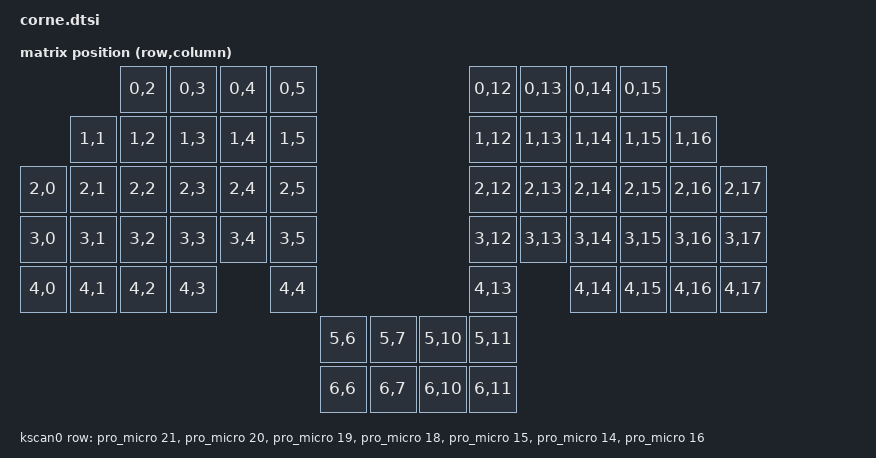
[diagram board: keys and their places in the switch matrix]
#include <dt-bindings/zmk/matrix_transform.h>
#include <physical_layouts.dtsi>

/ {
    default_transform: keymap_transform_0 {
        compatible = "zmk,matrix-transform";
        columns = <18>;  
        rows = <7>;    

        // QMK Layout mapping from kb.h:
        //              | K002 | K003 | K004 | K005 |                                      | K012 | K013 | K014 | K015 |              
        //        | K101 | K102 | K103 | K104 | K105 |                                      | K112 | K113 | K114 | K115 | K116 |      
        //  | K200 | K201 | K202 | K203 | K204 | K205 |                                      | K212 | K213 | K214 | K215 | K216 | K217 |
        //  | K300 | K301 | K302 | K303 | K304 | K305 |                                      | K312 | K313 | K314 | K315 | K316 | K317 |
        //  | K400 | K401 | K402 | K403 |             | K406 |                          | K411 |             | K414 | K415 | K416 | K417 |
        //                                                  | K507 | K508 |      | K510 | K511 |                                     
        //                                                  | K607 | K608 |      | K610 | K611 |

        map = < 
                    RC(0,2) RC(0,3) RC(0,4) RC(0,5)                                             RC(0,12) RC(0,13) RC(0,14) RC(0,15)
            RC(1,1) RC(1,2) RC(1,3) RC(1,4) RC(1,5)                                             RC(1,12) RC(1,13) RC(1,14) RC(1,15) RC(1,16)
            RC(2,0) RC(2,1) RC(2,2) RC(2,3) RC(2,4) RC(2,5)                                     RC(2,12) RC(2,13) RC(2,14) RC(2,15) RC(2,16) RC(2,17)
            RC(3,0) RC(3,1) RC(3,2) RC(3,3) RC(3,4) RC(3,5)                                     RC(3,12) RC(3,13) RC(3,14) RC(3,15) RC(3,16) RC(3,17)
            RC(4,0) RC(4,1) RC(4,2) RC(4,3)                 RC(4,4)                     RC(4,13)                 RC(4,14) RC(4,15) RC(4,16) RC(4,17)
                                                                    RC(5,6) RC(5,7)     RC(5,10) RC(5,11)
                                                                    RC(6,6) RC(6,7)     RC(6,10) RC(6,11)
        >;
    };

    kscan0: kscan {
        compatible = "zmk,kscan-gpio-matrix";
        wakeup-source;
        diode-direction = "col2row";
        // Row pins mapping from QMK: B0, B1, B2, B3, B4, B5, B6 (7 rows)
        row-gpios = 
                    <&pro_micro 21 (GPIO_ACTIVE_HIGH | GPIO_PULL_DOWN)>,
                    <&pro_micro 20 (GPIO_ACTIVE_HIGH | GPIO_PULL_DOWN)>,
                    <&pro_micro 19 (GPIO_ACTIVE_HIGH | GPIO_PULL_DOWN)>,
                    <&pro_micro 18 (GPIO_ACTIVE_HIGH | GPIO_PULL_DOWN)>,
                    <&pro_micro 15 (GPIO_ACTIVE_HIGH | GPIO_PULL_DOWN)>,
                    <&pro_micro 14 (GPIO_ACTIVE_HIGH | GPIO_PULL_DOWN)>,
                    <&pro_micro 16 (GPIO_ACTIVE_HIGH | GPIO_PULL_DOWN)>;
    };

    physical_layouts {
        compatible = "zmk,physical-layouts";

        layout: layout {
            compatible = "zmk,physical-layout";
            display-name = "Default";
            transform = <&default_transform>;
            kscan = <&kscan0>;

            keys = <
                // Row 0: 4 keys left + 4 keys right (indices 0-7)
                //              | K002 | K003 | K004 | K005 |          | K012 | K013 | K014 | K015 |
                &key_physical_attrs 100 100  200    0  0 0 0    // 0: K002
                &key_physical_attrs 100 100  300    0  0 0 0    // 1: K003
                &key_physical_attrs 100 100  400    0  0 0 0    // 2: K004
                &key_physical_attrs 100 100  500    0  0 0 0    // 3: K005
                &key_physical_attrs 100 100  900    0  0 0 0    // 4: K012
                &key_physical_attrs 100 100 1000    0  0 0 0    // 5: K013
                &key_physical_attrs 100 100 1100    0  0 0 0    // 6: K014
                &key_physical_attrs 100 100 1200    0  0 0 0    // 7: K015

                // Row 1: 5 keys left + 5 keys right (indices 8-17)
                //        | K101 | K102 | K103 | K104 | K105 |          | K112 | K113 | K114 | K115 | K116 |
                &key_physical_attrs 100 100  100  100  0 0 0    // 8:  K101
                &key_physical_attrs 100 100  200  100  0 0 0    // 9:  K102
                &key_physical_attrs 100 100  300  100  0 0 0    // 10: K103
                &key_physical_attrs 100 100  400  100  0 0 0    // 11: K104
                &key_physical_attrs 100 100  500  100  0 0 0    // 12: K105
                &key_physical_attrs 100 100  900  100  0 0 0    // 13: K112
                &key_physical_attrs 100 100 1000  100  0 0 0    // 14: K113
                &key_physical_attrs 100 100 1100  100  0 0 0    // 15: K114
                &key_physical_attrs 100 100 1200  100  0 0 0    // 16: K115
                &key_physical_attrs 100 100 1300  100  0 0 0    // 17: K116

                // Row 2: 6 keys left + 6 keys right (indices 18-29)
                //  | K200 | K201 | K202 | K203 | K204 | K205 |          | K212 | K213 | K214 | K215 | K216 | K217 |
                &key_physical_attrs 100 100    0  200  0 0 0    // 18: K200
                &key_physical_attrs 100 100  100  200  0 0 0    // 19: K201
                &key_physical_attrs 100 100  200  200  0 0 0    // 20: K202
                &key_physical_attrs 100 100  300  200  0 0 0    // 21: K203
                &key_physical_attrs 100 100  400  200  0 0 0    // 22: K204
                &key_physical_attrs 100 100  500  200  0 0 0    // 23: K205
                &key_physical_attrs 100 100  900  200  0 0 0    // 24: K212
                &key_physical_attrs 100 100 1000  200  0 0 0    // 25: K213
                &key_physical_attrs 100 100 1100  200  0 0 0    // 26: K214
                &key_physical_attrs 100 100 1200  200  0 0 0    // 27: K215
                &key_physical_attrs 100 100 1300  200  0 0 0    // 28: K216
                &key_physical_attrs 100 100 1400  200  0 0 0    // 29: K217

                // Row 3: 6 keys left + 6 keys right (indices 30-41)
                //  | K300 | K301 | K302 | K303 | K304 | K305 |          | K312 | K313 | K314 | K315 | K316 | K317 |
                &key_physical_attrs 100 100    0  300  0 0 0    // 30: K300
                &key_physical_attrs 100 100  100  300  0 0 0    // 31: K301
                &key_physical_attrs 100 100  200  300  0 0 0    // 32: K302
                &key_physical_attrs 100 100  300  300  0 0 0    // 33: K303
                &key_physical_attrs 100 100  400  300  0 0 0    // 34: K304
                &key_physical_attrs 100 100  500  300  0 0 0    // 35: K305
                &key_physical_attrs 100 100  900  300  0 0 0    // 36: K312
                &key_physical_attrs 100 100 1000  300  0 0 0    // 37: K313
                &key_physical_attrs 100 100 1100  300  0 0 0    // 38: K314
                &key_physical_attrs 100 100 1200  300  0 0 0    // 39: K315
                &key_physical_attrs 100 100 1300  300  0 0 0    // 40: K316
                &key_physical_attrs 100 100 1400  300  0 0 0    // 41: K317

                // Row 4: 4 keys left + 1 thumb + 1 thumb + 4 keys right (indices 42-51)
                //  | K400 | K401 | K402 | K403 |       | K406 |    | K411 |       | K414 | K415 | K416 | K417 |
                &key_physical_attrs 100 100    0  400  0 0 0    // 42: K400
                &key_physical_attrs 100 100  100  400  0 0 0    // 43: K401
                &key_physical_attrs 100 100  200  400  0 0 0    // 44: K402
                &key_physical_attrs 100 100  300  400  0 0 0    // 45: K403
                &key_physical_attrs 100 100  500  400  0 0 0    // 46: K406 (left thumb top)
                &key_physical_attrs 100 100  900  400  0 0 0    // 47: K411 (right thumb top)
                &key_physical_attrs 100 100 1100  400  0 0 0    // 48: K414
                &key_physical_attrs 100 100 1200  400  0 0 0    // 49: K415
                &key_physical_attrs 100 100 1300  400  0 0 0    // 50: K416
                &key_physical_attrs 100 100 1400  400  0 0 0    // 51: K417

                // Row 5: thumb cluster (indices 52-55)
                //                                    | K507 | K508 |    | K510 | K511 |
                &key_physical_attrs 100 100  600  500  0 0 0    // 52: K507 (LALT)
                &key_physical_attrs 100 100  700  500  0 0 0    // 53: K508 (LGUI)
                &key_physical_attrs 100 100  800  500  0 0 0    // 54: K510 (LGUI right)
                &key_physical_attrs 100 100  900  500  0 0 0    // 55: K511 (ENTER)

                // Row 6: thumb cluster (indices 56-59)
                //                                    | K607 | K608 |    | K610 | K611 |
                &key_physical_attrs 100 100  600  600  0 0 0    // 56: K607 (BSPC)
                &key_physical_attrs 100 100  700  600  0 0 0    // 57: K608 (DEL)
                &key_physical_attrs 100 100  800  600  0 0 0    // 58: K610 (BSPC right)
                &key_physical_attrs 100 100  900  600  0 0 0    // 59: K611 (SPACE)
            >;
        };
    };

    chosen {
        zmk,kscan = &kscan0;
        zmk,physical-layout = &layout;
    };
};
